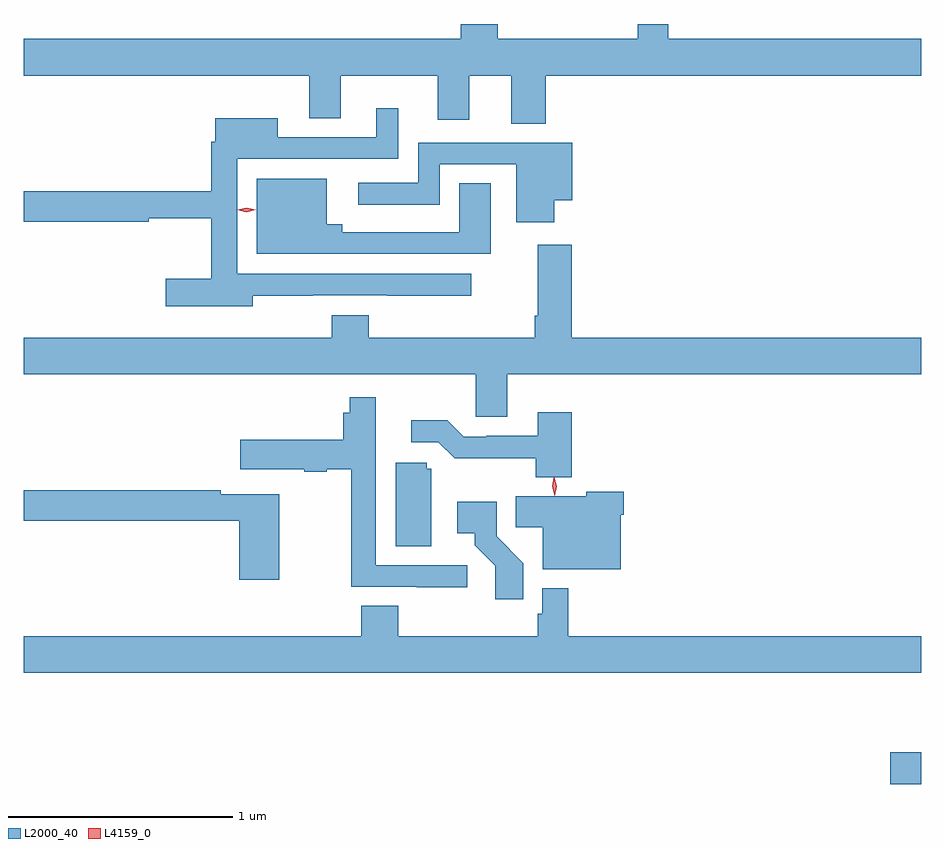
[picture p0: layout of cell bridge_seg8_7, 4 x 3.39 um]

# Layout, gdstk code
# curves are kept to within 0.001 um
import gdstk
lib = gdstk.Library(unit=1e-6, precision=1e-09)
def R(c, l, rs):  # rectangles x0, y0, x1, y1
    for r in rs: c.add(gdstk.rectangle(r[:2], r[2:], *l))
def P(c, l, *ps):  # polygons
    for p in ps: c.add(gdstk.Polygon(p, *l))
L2000_40 = (2000, 40)
L4159_0 = (4159, 0)

bridge_seg8_7 = lib.new_cell('bridge_seg8_7')
R(bridge_seg8_7, L2000_40, [(990.522,1157.297,990.659,1157.439)])
P(bridge_seg8_7, L2000_40, [(988.607,1160.686),(988.607,1160.62),(986.659,1160.62),(986.659,1160.456),(987.932,1160.456),(987.932,1160.266),(988.072,1160.266),(988.072,1160.456),(988.505,1160.456),(988.505,1160.259),(988.645,1160.259),(988.645,1160.456),(988.832,1160.456),(988.832,1160.242),(988.985,1160.242),(988.985,1160.456),(990.659,1160.456),(990.659,1160.62),(989.531,1160.62),(989.531,1160.686),(989.395,1160.686),(989.395,1160.62),(988.772,1160.62),(988.772,1160.686)],
  [(987.679,1159.475),(987.947,1159.475),(987.947,1159.476),(988.279,1159.476),(988.279,1159.475),(988.654,1159.475),(988.654,1159.572),(987.609,1159.572),(987.609,1160.085),(988.327,1160.085),(988.327,1160.311),(988.229,1160.311),(988.229,1160.181),(987.79,1160.181),(987.79,1160.266),(987.512,1160.266),(987.512,1160.162),(987.493,1160.162),(987.493,1159.94),(986.659,1159.94),(986.659,1159.804),(987.216,1159.804),(987.216,1159.819),(987.493,1159.819),(987.493,1159.549),(987.291,1159.549),(987.291,1159.427),(987.679,1159.427)],
  [(989.024,1159.901),(989.104,1159.901),(989.104,1160.157),(988.416,1160.157),(988.416,1159.977),(988.149,1159.977),(988.149,1159.881),(988.512,1159.881),(988.512,1160.061),(988.853,1160.061),(988.853,1159.803),(989.024,1159.803)],
  [(987.974,1159.662),(988.741,1159.662),(988.741,1159.976),(988.601,1159.976),(988.601,1159.758),(988.078,1159.758),(988.078,1159.792),(988.009,1159.792),(988.009,1159.996),(987.698,1159.996),(987.698,1159.661),(987.974,1159.661)],
  [(988.949,1159.702),(988.949,1159.384),(988.937,1159.384),(988.937,1159.288),(988.196,1159.288),(988.196,1159.387),(988.031,1159.387),(988.031,1159.288),(986.659,1159.288),(986.659,1159.124),(988.674,1159.124),(988.674,1158.934),(988.813,1158.934),(988.813,1159.124),(990.659,1159.124),(990.659,1159.288),(989.102,1159.288),(989.102,1159.702)],
  [(988.636,1158.273),(988.227,1158.273),(988.227,1159.021),(988.111,1159.021),(988.111,1158.952),(988.082,1158.952),(988.082,1158.831),(987.624,1158.831),(987.624,1158.701),(987.908,1158.701),(987.908,1158.689),(988.008,1158.689),(988.008,1158.701),(988.119,1158.701),(988.119,1158.177),(988.411,1158.177),(988.411,1158.175),(988.636,1158.175)],
  [(989.102,1158.955),(988.949,1158.955),(988.949,1158.849),(988.72,1158.849),(988.72,1158.846),(988.62,1158.846),(988.547,1158.919),(988.386,1158.919),(988.386,1158.822),(988.506,1158.822),(988.579,1158.749),(988.942,1158.75),(988.942,1158.665),(989.102,1158.665)],
  [(988.474,1158.702),(988.455,1158.702),(988.455,1158.729),(988.316,1158.729),(988.316,1158.358),(988.474,1158.358)],
  [(987.798,1158.588),(987.536,1158.588),(987.536,1158.608),(986.659,1158.608),(986.659,1158.472),(987.62,1158.472),(987.62,1158.207),(987.798,1158.207)],
  [(989.32,1158.497),(989.333,1158.497),(989.333,1158.601),(989.166,1158.601),(989.166,1158.58),(988.852,1158.58),(988.852,1158.442),(988.973,1158.442),(988.973,1158.254),(989.32,1158.254)],
  [(988.886,1158.282),(988.767,1158.401),(988.767,1158.556),(988.59,1158.556),(988.59,1158.416),(988.67,1158.416),(988.67,1158.361),(988.761,1158.271),(988.761,1158.12),(988.886,1158.12)],
  [(990.659,1157.956),(989.087,1157.956),(989.087,1158.169),(988.971,1158.169),(988.971,1158.057),(988.951,1158.057),(988.951,1157.956),(988.328,1157.956),(988.328,1158.092),(988.163,1158.092),(988.163,1157.956),(986.659,1157.956),(986.659,1157.792),(990.659,1157.792)])
P(bridge_seg8_7, L4159_0, [(989.025,1158.583),(989.025,1158.583),(989.014,1158.624),(989.022,1158.665),(989.023,1158.666),(989.023,1158.665),(989.034,1158.625),(989.025,1158.583)],
  [(987.651,1159.847),(987.611,1159.857),(987.611,1159.858),(987.611,1159.858),(987.652,1159.867),(987.692,1159.857),(987.692,1159.857),(987.692,1159.857)])

lib.write_gds('bridge_seg8_7.gds')
